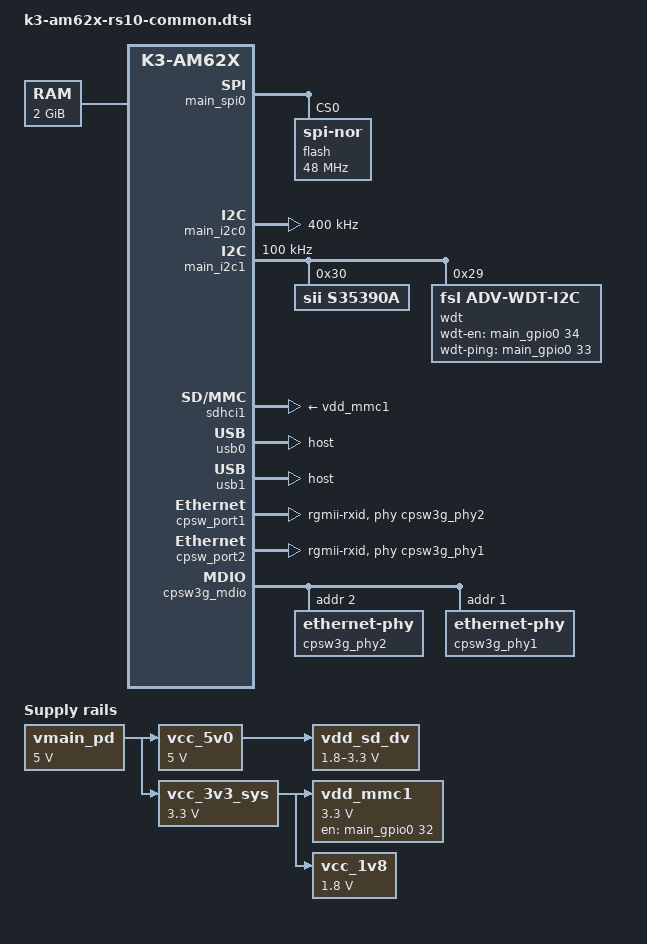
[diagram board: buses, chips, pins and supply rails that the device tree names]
// SPDX-License-Identifier: GPL-2.0
/*
 * Common dtsi for AM62x SK and derivatives
 *
 * Copyright (C) 2021-2022 Texas Instruments Incorporated - https://www.ti.com/
 */

/ {
	aliases {
	        serial1 = &main_uart1;
		serial2 = &main_uart0;
		serial5 = &main_uart5;
		mmc0 = &sdhci0;
		mmc1 = &sdhci1;
		usb0 = &usb0;
		usb1 = &usb1;
		ethernet0 = &cpsw_port1;
		ethernet1 = &cpsw_port2;
	};

	chosen {
		stdout-path = "serial2:115200n8";
		bootargs = "console=ttyS2,115200n8 earlycon=ns16550a,mmio32,0x02800000";
	};

	memory@80000000 {
		device_type = "memory";
		/* 2G RAM */
		reg = <0x00000000 0x80000000 0x00000000 0x80000000>;

	};

	reserved-memory {
		#address-cells = <2>;
		#size-cells = <2>;
		ranges;

		rtos_ipc_memory_region: ipc-memories@9c800000 {
			compatible = "shared-dma-pool";
			reg = <0x00 0x9c800000 0x00 0x00300000>;
			no-map;
		};

		mcu_m4fss_dma_memory_region: m4f-dma-memory@9cb00000 {
			compatible = "shared-dma-pool";
			reg = <0x00 0x9cb00000 0x00 0x100000>;
			no-map;
		};

		mcu_m4fss_memory_region: m4f-memory@9cc00000 {
			compatible = "shared-dma-pool";
			reg = <0x00 0x9cc00000 0x00 0xe00000>;
			no-map;
		};

		wkup_r5fss0_core0_dma_memory_region: r5f-dma-memory@9da00000 {
			compatible = "shared-dma-pool";
			reg = <0x00 0x9da00000 0x00 0x00100000>;
			no-map;
		};

		wkup_r5fss0_core0_memory_region: r5f-memory@9db00000 {
			compatible = "shared-dma-pool";
			reg = <0x00 0x9db00000 0x00 0x00c00000>;
			no-map;
		};

		lpm_ctx_ddr: lpm-memory@9e700000 {
			reg = <0x00 0x9e700000 0x00 0x80000>;
			alignment = <0x1000>;
		};

		secure_tfa_ddr: tfa@9e780000 {
			reg = <0x00 0x9e780000 0x00 0x80000>;
			alignment = <0x1000>;
			no-map;
		};

		secure_ddr: optee@9e800000 {
			reg = <0x00 0x9e800000 0x00 0x01800000>; /* for OP-TEE */
			alignment = <0x1000>;
			no-map;
		};
	};

	vmain_pd: regulator-0 {
		/* TPS65988 PD CONTROLLER OUTPUT */
		compatible = "regulator-fixed";
		regulator-name = "vmain_pd";
		regulator-min-microvolt = <5000000>;
		regulator-max-microvolt = <5000000>;
		regulator-always-on;
		regulator-boot-on;
	};

	vcc_5v0: regulator-1 {
		/* Output of TPS630702 */
		compatible = "regulator-fixed";
		regulator-name = "vcc_5v0";
		regulator-min-microvolt = <5000000>;
		regulator-max-microvolt = <5000000>;
		vin-supply = <&vmain_pd>;
		regulator-always-on;
		regulator-boot-on;
	};

	vcc_3v3_sys: regulator-2 {
		/* output of LM61460-Q1 */
		compatible = "regulator-fixed";
		regulator-name = "vcc_3v3_sys";
		regulator-min-microvolt = <3300000>;
		regulator-max-microvolt = <3300000>;
		vin-supply = <&vmain_pd>;
		regulator-always-on;
		regulator-boot-on;
	};

	vdd_mmc1: regulator-3 {
		/* TPS22918DBVR */
		compatible = "regulator-fixed";
		regulator-name = "vdd_mmc1";
		regulator-min-microvolt = <3300000>;
		regulator-max-microvolt = <3300000>;
		regulator-boot-on;
		enable-active-high;
		vin-supply = <&vcc_3v3_sys>;
		pinctrl-names = "default";
		pinctrl-0 = <&vdd_mmc_pins_default>;
		gpios = <&main_gpio0 32 GPIO_ACTIVE_HIGH>;
	};

	vdd_sd_dv: regulator-4 {
		/* Output of TLV71033 */
		compatible = "regulator-gpio";
		regulator-name = "tlv71033";
		pinctrl-names = "default";
		pinctrl-0 = <&vdd_sd_dv_pins_default>;
		regulator-min-microvolt = <1800000>;
		regulator-max-microvolt = <3300000>;
		regulator-boot-on;
		vin-supply = <&vcc_5v0>;
		gpios = <&main_gpio0 31 GPIO_ACTIVE_HIGH>;
		states = <1800000 0x0>,
			 <3300000 0x1>;
	};

	vcc_1v8: regulator-7 {
		/* output of TPS6282518DMQ */
		compatible = "regulator-fixed";
		regulator-name = "vcc_1v8";
		regulator-min-microvolt = <1800000>;
		regulator-max-microvolt = <1800000>;
		vin-supply = <&vcc_3v3_sys>;
		regulator-always-on;
		regulator-boot-on;
	};
};

&main_pmx0 {
    main_spi0_pins_default: main-spi0-pins-default {
		pinctrl-single,pins = <
			AM62X_IOPAD(0x01bc, PIN_INPUT, 0) /* (A14) SPI0_CLK */
			AM62X_IOPAD(0x01c0, PIN_OUTPUT, 0) /* (B13) SPI0_D0 */
			AM62X_IOPAD(0x01c4, PIN_INPUT, 0) /* (B14) SPI0_D1 */
			AM62X_IOPAD(0x01b4, PIN_OUTPUT, 0) /* (A13) SPI0_CS0 */
		>;
	};

	main_uart0_pins_default: main-uart0-pins-default {
		pinctrl-single,pins = <
			AM62X_IOPAD(0x1c8, PIN_INPUT, 0) /* (D14) UART0_RXD */
			AM62X_IOPAD(0x1cc, PIN_OUTPUT, 0) /* (E14) UART0_TXD */
		>;
	};

	main_uart1_pins_default: main-uart1-pins-default {
		pinctrl-single,pins = <
			AM62X_IOPAD(0x01ac, PIN_INPUT, 2) /* (E19) MCASP0_AFSR.UART1_RXD */
			AM62X_IOPAD(0x01b0, PIN_OUTPUT, 2) /* (A20) MCASP0_ACLKR.UART1_TXD */
			AM62X_IOPAD(0x0194, PIN_INPUT, 2) /* (B19) MCASP0_AXR3.UART1_CTSn */
			AM62X_IOPAD(0x0198, PIN_OUTPUT, 2) /* (A19) MCASP0_AXR2.UART1_RTSn */
		>;
	};

	main_uart5_pins_default: main-uart5-pins-default {
		pinctrl-single,pins = <
			AM62X_IOPAD(0x01d8, PIN_INPUT, 1) /* (C15) MCAN0_TX.UART5_RXD */
			AM62X_IOPAD(0x01dc, PIN_OUTPUT, 1) /* (E15) MCAN0_RX.UART5_TXD */
			AM62X_IOPAD(0x008, PIN_INPUT, 5) /* (J24) OSPI0_DQS.UART5_CTSn */
			AM62X_IOPAD(0x004, PIN_OUTPUT, 5) /* (G25) OSPI0_LBCLKO.UART5_RTSn */
		>;
	};

	main_i2c0_pins_default: main-i2c0-pins-default {
		pinctrl-single,pins = <
			AM62X_IOPAD(0x1e0, PIN_INPUT_PULLUP, 0) /* (B16) I2C0_SCL */
			AM62X_IOPAD(0x1e4, PIN_INPUT_PULLUP, 0) /* (A16) I2C0_SDA */
		>;
	};

	main_i2c1_pins_default: main-i2c1-pins-default {
		pinctrl-single,pins = <
			AM62X_IOPAD(0x1e8, PIN_INPUT_PULLUP, 0) /* (B17) I2C1_SCL */
			AM62X_IOPAD(0x1ec, PIN_INPUT_PULLUP, 0) /* (A17) I2C1_SDA */
		>;
	};

	main_mmc0_pins_default: main-mmc0-pins-default {
		pinctrl-single,pins = <
			AM62X_IOPAD(0x220, PIN_INPUT, 0) /* (Y3) MMC0_CMD */
			AM62X_IOPAD(0x218, PIN_INPUT, 0) /* (AB1) MMC0_CLK */
			AM62X_IOPAD(0x214, PIN_INPUT, 0) /* (AA2) MMC0_DAT0 */
			AM62X_IOPAD(0x210, PIN_INPUT, 0) /* (AA1) MMC0_DAT1 */
			AM62X_IOPAD(0x20c, PIN_INPUT, 0) /* (AA3) MMC0_DAT2 */
			AM62X_IOPAD(0x208, PIN_INPUT, 0) /* (Y4) MMC0_DAT3 */
			AM62X_IOPAD(0x204, PIN_INPUT, 0) /* (AB2) MMC0_DAT4 */
			AM62X_IOPAD(0x200, PIN_INPUT, 0) /* (AC1) MMC0_DAT5 */
			AM62X_IOPAD(0x1fc, PIN_INPUT, 0) /* (AD2) MMC0_DAT6 */
			AM62X_IOPAD(0x1f8, PIN_INPUT, 0) /* (AC2) MMC0_DAT7 */
		>;
	};

	main_mmc1_pins_default: main-mmc1-pins-default {
		pinctrl-single,pins = <
			AM62X_IOPAD(0x23c, PIN_INPUT, 0) /* (A21) MMC1_CMD */
			AM62X_IOPAD(0x234, PIN_INPUT, 0) /* (B22) MMC1_CLK */
			AM62X_IOPAD(0x230, PIN_INPUT, 0) /* (A22) MMC1_DAT0 */
			AM62X_IOPAD(0x22c, PIN_INPUT, 0) /* (B21) MMC1_DAT1 */
			AM62X_IOPAD(0x228, PIN_INPUT, 0) /* (C21) MMC1_DAT2 */
			AM62X_IOPAD(0x224, PIN_INPUT, 0) /* (D22) MMC1_DAT3 */
			AM62X_IOPAD(0x240, PIN_INPUT, 0) /* (D17) MMC1_SDCD */
		>;
	};

	main_mdio1_pins_default: main-mdio1-pins-default {
		pinctrl-single,pins = <
			AM62X_IOPAD(0x160, PIN_OUTPUT, 0) /* (AD24) MDIO0_MDC */
			AM62X_IOPAD(0x15c, PIN_INPUT, 0) /* (AB22) MDIO0_MDIO */
		>;
	};

	main_rgmii1_pins_default: main-rgmii1-pins-default {
		pinctrl-single,pins = <
			AM62X_IOPAD(0x14c, PIN_INPUT, 0) /* (AB17) RGMII1_RD0 */
			AM62X_IOPAD(0x150, PIN_INPUT, 0) /* (AC17) RGMII1_RD1 */
			AM62X_IOPAD(0x154, PIN_INPUT, 0) /* (AB16) RGMII1_RD2 */
			AM62X_IOPAD(0x158, PIN_INPUT, 0) /* (AA15) RGMII1_RD3 */
			AM62X_IOPAD(0x148, PIN_INPUT, 0) /* (AD17) RGMII1_RXC */
			AM62X_IOPAD(0x144, PIN_INPUT, 0) /* (AE17) RGMII1_RX_CTL */
			AM62X_IOPAD(0x134, PIN_OUTPUT, 0) /* (AE20) RGMII1_TD0 */
			AM62X_IOPAD(0x138, PIN_OUTPUT, 0) /* (AD20) RGMII1_TD1 */
			AM62X_IOPAD(0x13c, PIN_OUTPUT, 0) /* (AE18) RGMII1_TD2 */
			AM62X_IOPAD(0x140, PIN_OUTPUT, 0) /* (AD18) RGMII1_TD3 */
			AM62X_IOPAD(0x130, PIN_OUTPUT, 0) /* (AE19) RGMII1_TXC */
			AM62X_IOPAD(0x12c, PIN_OUTPUT, 0) /* (AD19) RGMII1_TX_CTL */
		>;
	};

	main_rgmii2_pins_default: main-rgmii2-pins-default {
		pinctrl-single,pins = <
			AM62X_IOPAD(0x184, PIN_INPUT, 0) /* (AE23) RGMII2_RD0 */
			AM62X_IOPAD(0x188, PIN_INPUT, 0) /* (AB20) RGMII2_RD1 */
			AM62X_IOPAD(0x18c, PIN_INPUT, 0) /* (AC21) RGMII2_RD2 */
			AM62X_IOPAD(0x190, PIN_INPUT, 0) /* (AE22) RGMII2_RD3 */
			AM62X_IOPAD(0x180, PIN_INPUT, 0) /* (AD23) RGMII2_RXC */
			AM62X_IOPAD(0x17c, PIN_INPUT, 0) /* (AD22) RGMII2_RX_CTL */
			AM62X_IOPAD(0x16c, PIN_OUTPUT, 0) /* (Y18) RGMII2_TD0 */
			AM62X_IOPAD(0x170, PIN_OUTPUT, 0) /* (AA18) RGMII2_TD1 */
			AM62X_IOPAD(0x174, PIN_OUTPUT, 0) /* (AD21) RGMII2_TD2 */
			AM62X_IOPAD(0x178, PIN_OUTPUT, 0) /* (AC20) RGMII2_TD3 */
			AM62X_IOPAD(0x168, PIN_OUTPUT, 0) /* (AE21) RGMII2_TXC */
			AM62X_IOPAD(0x164, PIN_OUTPUT, 0) /* (AA19) RGMII2_TX_CTL */
		>;
	};
	
	vdd_mmc_pins_default: vdd-mmc-pins-default {
		pinctrl-single,pins = <
				AM62X_IOPAD(0x084, PIN_OUTPUT, 7) /* (L23) GPMC0_ADVn_ALE.GPIO0_32 */
		>;
	};

	vdd_sd_dv_pins_default: vdd-sd-dv-pins-default {
		pinctrl-single,pins = <
			AM62X_IOPAD(0x07c, PIN_OUTPUT, 7) /* (P25) GPMC0_CLK.GPIO0_31 */
		>;
	};

	main_usb1_pins_default: main-usb1-pins-default {
		pinctrl-single,pins = <
			AM62X_IOPAD(0x0258, PIN_OUTPUT, 0) /* (F18) USB1_DRVVBUS */
		>;
	};
	
	main_usb0_pins_default: main-usb0-pins-default {
		pinctrl-single,pins = <
			AM62X_IOPAD(0x0254, PIN_OUTPUT, 0) /* (C20) USB0_DRVVBUS */
		>;
	};

        main_wdt_en_1: wdt_engrp-1 {
               pinctrl-single,pins = <
                       AM62X_IOPAD(0x08c, PIN_OUTPUT, 7)    /* GPMC0_WEn.GPIO0_34 */
               >;
        };
        main_wdt_ping_1: wdt_pinggrp-1 {
               pinctrl-single,pins = <
                       AM62X_IOPAD(0x088, PIN_OUTPUT, 7)    /* GPMC0_OEn_REn.GPIO0_33 */
               >;
        };
};

&wkup_uart0 {
	/* WKUP UART0 is used by DM firmware */
	status = "reserved";
};

&wkup_rtc0 {
	status = "disabled";
};

&mcu_uart0 {
    status = "disabled";
};

&main_spi0 {
    pinctrl-names = "default";
    pinctrl-0 = <&main_spi0_pins_default>;
    #address-cells = <1>;
    #size-cells= <0>;
    ti,pindir-d0-out-d1-in = <1>;

    flash@0{
            compatible = "jedec,spi-nor";
            reg = <0x0>;
            spi-tx-bus-width = <1>;
            spi-rx-bus-width = <1>;
            spi-max-frequency = <48000000>;
            #address-cells = <1>;
            #size-cells= <1>;
    };
};

&main_uart0 {
	pinctrl-names = "default";
	pinctrl-0 = <&main_uart0_pins_default>;
};

&main_uart1 {
	pinctrl-names = "default";
	pinctrl-0 = <&main_uart1_pins_default>;
	rs485-rts-active-low;
	linux,rs485-enabled-at-boot-time;
	dmas=<&main_pktdma 0x4401 0>,<&main_pktdma 0xc401 0>;
	dma-name="rx","tx";
};

&main_uart2 {
	status = "disabled";
};

&main_uart3 {
	status = "disabled";
};

&main_uart4 {
	status = "disabled";
};

&main_uart5 {
	pinctrl-names = "default";
	pinctrl-0 = <&main_uart5_pins_default>;
	rs485-rts-active-low;
	linux,rs485-enabled-at-boot-time;
	dmas=<&main_pktdma 0x4405 0>,<&main_pktdma 0xc405 0>;
	dma-name="rx","tx";
};

&main_uart6 {
	status = "disabled";
};

&mcu_i2c0 {
	status = "disabled";
};

&wkup_i2c0 {
	status = "disabled";
};

&gpu {
	status = "disabled";
};

&main_i2c0 {
	pinctrl-names = "default";
	pinctrl-0 = <&main_i2c0_pins_default>;
	clock-frequency = <400000>;
};

&main_i2c1 {
	pinctrl-names = "default";
	pinctrl-0 = <&main_i2c1_pins_default>;
	clock-frequency = <100000>;

	s35390a: s35390a@30 {
		compatible = "sii,s35390a";
		reg = <0x30>;
		status = "okay";
	};

	wdt@29 {
         compatible = "fsl,adv-wdt-i2c";
         pinctrl-names = "default";
         pinctrl-0 = <&main_wdt_en_1 &main_wdt_ping_1>;
         status = "okay";
         wdt-en = <&main_gpio0 34 GPIO_ACTIVE_HIGH>;
         wdt-ping = <&main_gpio0 33 GPIO_ACTIVE_HIGH>;
         reg = <0x29>;
    };
};

&main_i2c2 {
	status = "disabled";
};

&main_i2c3 {
	status = "disabled";
};

&sdhci0 {
	pinctrl-names = "default";
	pinctrl-0 = <&main_mmc0_pins_default>;
	ti,driver-strength-ohm = <50>;
	disable-wp;
};

&sdhci1 {
	/* SD/MMC */
	vmmc-supply = <&vdd_mmc1>;
	vqmmc-supply = <&vdd_sd_dv>;
	pinctrl-names = "default";
	pinctrl-0 = <&main_mmc1_pins_default>;
	ti,driver-strength-ohm = <50>;
	disable-wp;
	/delete-property/ ti,otap-del-sel-sdr12;
	/delete-property/ ti,otap-del-sel-sdr25;
	/delete-property/ ti,otap-del-sel-sdr50;
	/delete-property/ ti,otap-del-sel-sdr104;
	/delete-property/ ti,otap-del-sel-ddr50;
	/delete-property/ ti,itap-del-sel-sdr12;
	/delete-property/ ti,itap-del-sel-sdr25;
};

&sdhci2 {
	status = "disabled";
};

&dss {
	status = "disabled";
};

&usbss0 {
	ti,vbus-divider;
};

&usbss1 {
	ti,vbus-divider;
};

&usb0 {
	dr_mode = "host";
	pinctrl-names = "default";
	pinctrl-0 = <&main_usb0_pins_default>;
};

&usb1 {
	dr_mode = "host";
	pinctrl-names = "default";
	pinctrl-0 = <&main_usb1_pins_default>;
};

&cpsw3g {
	pinctrl-names = "default";
	pinctrl-0 = <&main_mdio1_pins_default
		     &main_rgmii1_pins_default
		     &main_rgmii2_pins_default>;
};

&cpsw_port1 {
	phy-mode = "rgmii-rxid";
	phy-handle = <&cpsw3g_phy2>;
};

&cpsw_port2 {
	phy-mode = "rgmii-rxid";
	phy-handle = <&cpsw3g_phy1>;
};

&cpsw3g_mdio {
	cpsw3g_phy2: ethernet-phy@2 {
		reg = <2>;
	};

	cpsw3g_phy1: ethernet-phy@1 {
		reg = <1>;
	};
};

&mcasp0 {
	status = "disabled";
};

&mcasp1 {
    status = "disabled";
};

&mcasp2 {
	status = "disabled";
};

&mailbox0_cluster0 {
	mbox_m4_0: mbox-m4-0 {
		ti,mbox-rx = <0 0 0>;
		ti,mbox-tx = <1 0 0>;
	};
};

&main_mcan0 {
	status = "disabled";
};

&mcu_rti0 {
	/* MCU RTI0 is used by M4F firmware */
	status = "reserved";
};

&wkup_rti0 {
	/* WKUP RTI0 is used by DM firmware */
	status = "reserved";
};

&epwm0 {
	status = "disabled";
};

&epwm1 {
	status = "disabled";
};

&epwm2 {
	status = "disabled";
};

&ecap0_pwm {
	status = "disabled";
};

&ecap1_pwm {
	status = "disabled";
};

&ecap2_pwm {
	status = "disabled";
};

&main_rti0 {
        status = "disabled";
};

&main_rti1 {
        status = "disabled";
};

&main_rti2 {
        status = "disabled";
};

&main_rti3 {
        status = "disabled";
};

&main_rti15 {
        status = "disabled";
};

&ti_csi2rx0 {
	status = "disabled";
};
